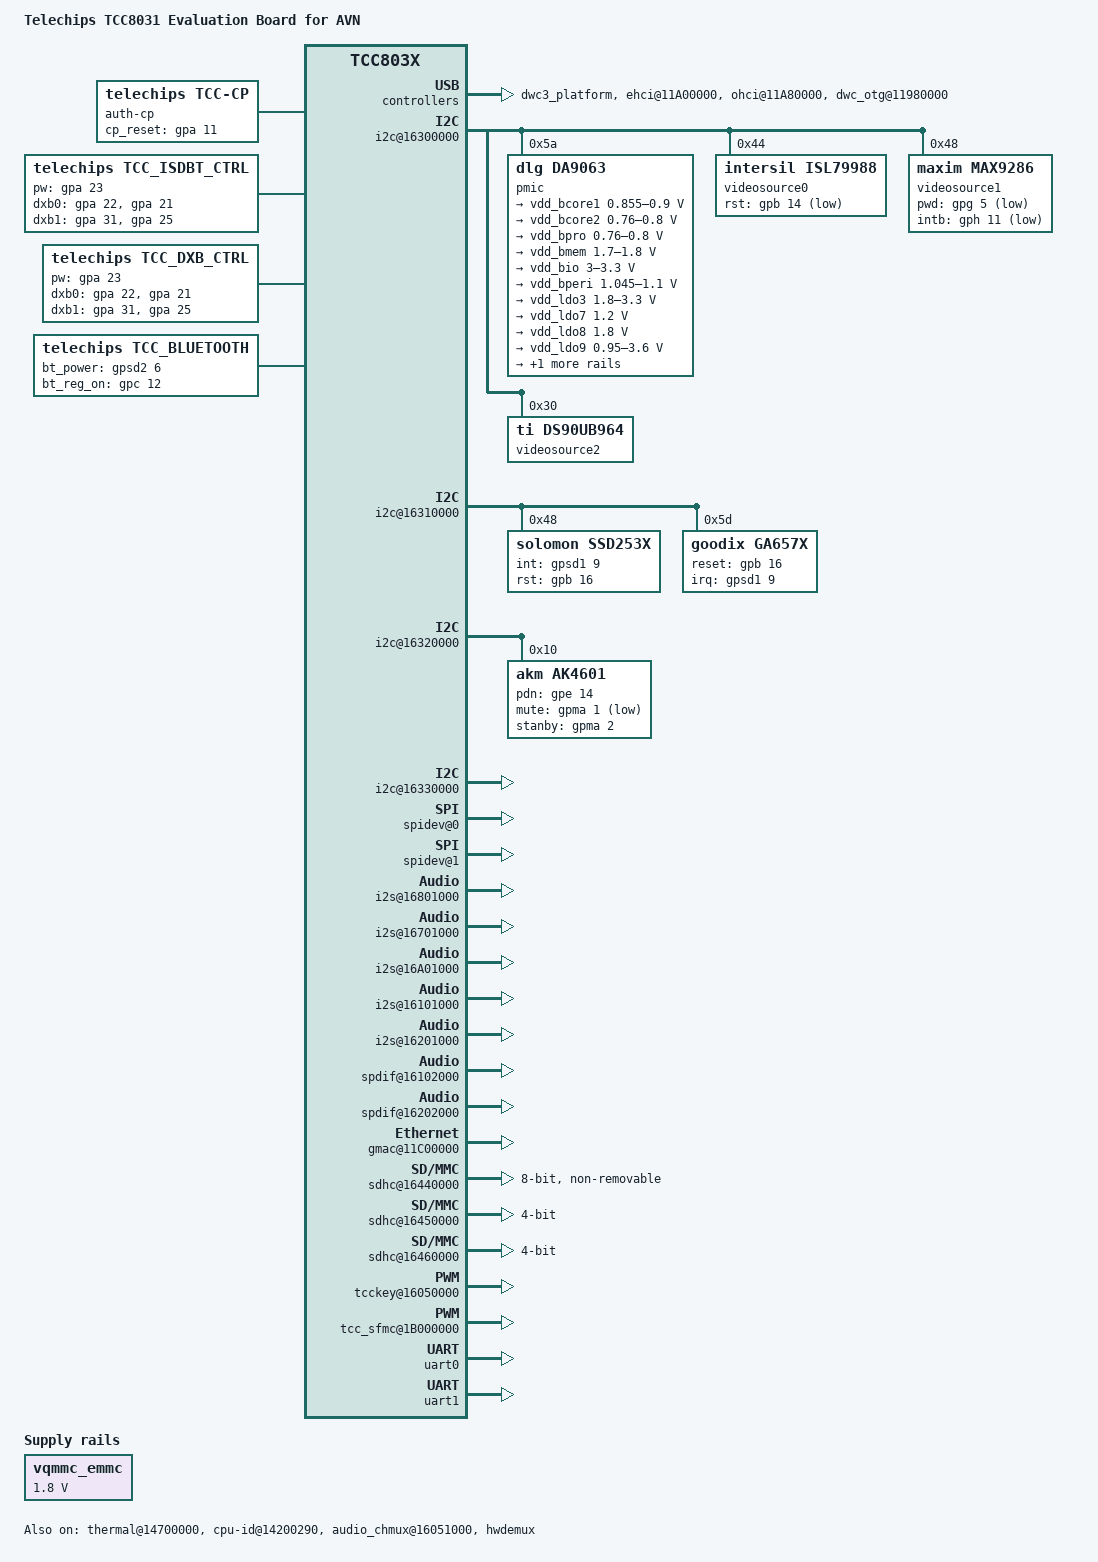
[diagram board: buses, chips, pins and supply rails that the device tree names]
/*
 * Device tree for Telechips TCC8031 board
 *
 * Copyright (C) 2018 Telechips Inc. - http://www.telechips.com
 *
 * This file is dual-licensed: you can use it either under the terms
 * of the GPL or the X11 license, at your option. Note that this dual
 * licensing only applies to this file, and not this project as a
 * whole.
 *
 *  a) This file is free software; you can redistribute it and/or
 *     modify it under the terms of the GNU General Public License as
 *     published by the Free Software Foundation; either version 2 of the
 *     License, or (at your option) any later version.
 *
 *     This file is distributed in the hope that it will be useful,
 *     but WITHOUT ANY WARRANTY; without even the implied warranty of
 *     MERCHANTABILITY or FITNESS FOR A PARTICULAR PURPOSE.  See the
 *     GNU General Public License for more details.
 *
 * Or, alternatively,
 *
 *  b) Permission is hereby granted, free of charge, to any person
 *     obtaining a copy of this software and associated documentation
 *     files (the "Software"), to deal in the Software without
 *     restriction, including without limitation the rights to use,
 *     copy, modify, merge, publish, distribute, sublicense, and/or
 *     sell copies of the Software, and to permit persons to whom the
 *     Software is furnished to do so, subject to the following
 *     conditions:
 *
 *     The above copyright notice and this permission notice shall be
 *     included in all copies or substantial portions of the Software.
 *
 *     THE SOFTWARE IS PROVIDED "AS IS", WITHOUT WARRANTY OF ANY KIND,
 *     EXPRESS OR IMPLIED, INCLUDING BUT NOT LIMITED TO THE WARRANTIES
 *     OF MERCHANTABILITY, FITNESS FOR A PARTICULAR PURPOSE AND
 *     NONINFRINGEMENT. IN NO EVENT SHALL THE AUTHORS OR COPYRIGHT
 *     HOLDERS BE LIABLE FOR ANY CLAIM, DAMAGES OR OTHER LIABILITY,
 *     WHETHER IN AN ACTION OF CONTRACT, TORT OR OTHERWISE, ARISING
 *     FROM, OUT OF OR IN CONNECTION WITH THE SOFTWARE OR THE USE OR
 *     OTHER DEALINGS IN THE SOFTWARE.
 */

#include "tcc8031.dtsi"
#include "tcc803x-linux.dtsi"

/ {
	model = "Telechips TCC8031 Evaluation Board for AVN";
	compatible = "telechips,tcc8031", "telechips,tcc803x";

	chosen {
		bootargs = "vmalloc=480M console=ttyAMA0,115200n8";
		stdout-path = &uart0;
	};

	aliases {
		videosource0 = &videosource0;
		videosource1 = &videosource1;
		videosource2 = &videosource2;
	};

	pcie@11800000 {
		reset-gpio = <&gpc 30 0>;
		//status = "okay";
	};
/*
	nand@16400000 {
		compatible = "telechips,nand-v8";
		status = "okay";
		pinctrl-names = "default";
		pinctrl-0 = <&nand_rdy &nand_cs0
			     &nand_we &nand_oe &nand_cle &nand_ale
			     &nand_wp &nand_databus8>;
	};
*/

	/* USB 3.0 DRD */
	dwc3_phy@11D90000 {
		status = "okay";
		vbus-ctrl-able;
		vbus-gpio = <&gpa 29 0>;
	};

	dwc3_platform {
		status = "okay"; 
		//usb3en-ctrl-able;                
		//usb3en-gpio = <&gpc 20 0>;       
		//vbus-source-ctrl;                
		vbus-ctrl-able;                    
		vbus-gpio = <&gpa 29 0>;           
		//pinctrl-names = "default";       
		//vdd_dwc-supply = <&vdd_v5p0_reg>;
	}; 

	/* USB 2.0 OTG */
	ehci_phy@11DA0010 {
		status = "okay";
		vbus-ctrl-able;
		vbus-gpio = <&gpa 28 0>;
	};

	ehci@11A00000 {
		status = "okay";
		hcd_id = <0>;
		phy-type = <1>;	    //pico phy = 1, nano phy = 0
		vbus-ctrl-able;
		vbus-gpio = <&gpa 28 0>;

		//sq_level_ctl;
		TXVRT = <0xB>;
		TXRISET = <0x3>;
		TXAT = <0x1>;
	};

	ohci@11A80000 {
		status = "okay";
		vbus-ctrl-able;
		vbus-gpio = <&gpa 28 0>;
	};

	dwc_otg_phy@11DA0100 {
		status = "okay";

		vbus-ctrl-able;
		vbus-gpio = <&gpa 27 0>;
	};

	mux_host_phy@11DA00DC {
		status = "okay";

		vbus-ctrl-able;
		vbus-gpio = <&gpa 27 0>;
	};

	dwc_otg@11980000 {
	    status = "okay";
	    phy-type = <1>;     //pico phy = 1, nano phy = 0

	    vbus-ctrl-able;
	    vbus-gpio = <&gpa 27 0>;
	};

	switch_reverse {
		compatible = "telechips,switch_reverse";
		status = "disabled";

		pinctrl-names = "default";
		pinctrl-0 = <&switch_reverse_ma15>;

		switch-gpios = <&gpma 15 1>;
		switch-active = <0>;
	};

	fbdisplay: fbdisplay@12000000 {
		telechips,fbdisplay_num = <0>;
		//Linuxplatform
		telechips,overlay_priority = <24>;
		//
		status ="okay";
	};

	thermal@14700000 {
		compatible = "telechips,tcc-thermal";
		reg = <0x14700000 0x4 0x14700030 0x4 0x14200290 0x4 0x1420029C 0x4>;
		status = "okay";

		throttle_count = <5>;
		throttle_active_count = <0>;
		throttle_passive_count = <5>;

		cal_type = "TYPE_ONE_POINT_TRIMMING";
		polling-delay-idle = <0>;
		polling-delay-passive = <0>;

		throttle_table {
			throttle_tab_0 {
				temp = <75>;
				freq_max_cluster0 = <1000000>;
				freq_max_cluster1 = <900000>;
			};
			throttle_tab_1 {
				temp = <80>;
				freq_max_cluster0 = <900000>;
				freq_max_cluster1 = <810000>;
			};
			throttle_tab_2 {
				temp = <85>;
				freq_max_cluster0 = <800000>;
				freq_max_cluster1 = <720000>;
			};
			throttle_tab_3 {
				temp = <90>;
				freq_max_cluster0 = <700000>;
				freq_max_cluster1 = <630000>;
			};
			throttle_tab_4 {
				temp = <95>;
				freq_max_cluster0 = <600000>;
				freq_max_cluster1 = <540000>;
			};
		};
	};

	cpu-id@14200290{
		compatible = "telechips,tcc-cpu-id";
		reg = <0x14200290 0x4 0x14200298 0x4 0x1420029C 0x4 0x14400014 0x4>;
		status = "okay";
	};

	overlaymixer:overlaymixer@1A100000 {
		status ="okay";
		contiguousSize = <0x1000000>;  /* 16MB (if > 512MB RAM) refer to Guide 27 Page */
		baseAddress = <0x20000000>;
		physSize = <0x80000000>; /*  DRAM size (0x40000000 = 1GB, 0x80000000 = 2GB) */
		};

	hdmi_tx_20@12400000 {
		hdmi_ref_src_clock = <0>; // 0 XIN, 1 X-TAL, 2 PERI, 3, PMU XIN
		hdmi_phy_type = <0>; // 0 8031

		/* Source Product Description */
		product_description = "TCC8031_avn";
	};
	i2c@16300000 {
		status = "okay";
		port-mux = <12>;
		pinctrl-names = "default";
		pinctrl-0 = <&i2c12_bus>;

		pmic@5A {
			compatible = "dlg,da9063";
			reg = <0x5A>;

			da9063_gpio: gpio {
			    compatible = "dlg,da9063-gpio";
			    gpio-controller;
			    #gpio-cells = <2>;
			};

			regulators {
				vdd_bcore1: bcore1 {
					regulator-name = "cpu_0p9v";
					regulator-min-microvolt = <855000>;
					regulator-max-microvolt = <900000>;
					regulator-always-on;
					regulator-boot-on;
				};

				vdd_bcore2: bcore2 {
					regulator-name = "core_0p8v";
					regulator-min-microvolt = <760000>;
					regulator-max-microvolt = <800000>;
					regulator-always-on;
					regulator-boot-on;
				};

				vdd_bpro: bpro {
					regulator-name = "vdd_mali";
					regulator-min-microvolt = <760000>;
					regulator-max-microvolt = <800000>;
					regulator-always-on;
					regulator-boot-on;
				};

				vdd_bmem: bmem {
					regulator-name = "io_1p8v";
					regulator-min-microvolt = <1700000>;
					regulator-max-microvolt = <1800000>;
					regulator-always-on;
					regulator-boot-on;
				};

				vdd_bio: bio {
					regulator-name = "io_3p3v";
					regulator-min-microvolt = <3000000>;
					regulator-max-microvolt = <3300000>;
					regulator-always-on;
					regulator-boot-on;
				};

				vdd_bperi: bperi {
					regulator-name = "mem_1p1v";
					regulator-min-microvolt = <1045000>;
					regulator-max-microvolt = <1100000>;
					regulator-always-on;
					regulator-boot-on;
				};

				vdd_ldo3: ldo3 {
					/* peri_1p8v */
					regulator-name = "sdio_pwr";
					regulator-min-microvolt = <1800000>;
					regulator-max-microvolt = <3300000>;
					regulator-always-on;
					regulator-boot-on;
				};

				vdd_ldo7: ldo7 {
					regulator-name = "cpu_1p2v";
					regulator-min-microvolt = <1200000>;
					regulator-max-microvolt = <1200000>;
					regulator-always-on;
					regulator-boot-on;
				};

				vdd_ldo8: ldo8 {
					regulator-name = "mem_1p8v";
					regulator-min-microvolt = <1800000>;
					regulator-max-microvolt = <1800000>;
					regulator-always-on;
					regulator-boot-on;
				};

				vdd_ldo9: ldo9 {
					regulator-name = "pmic_io_pwr";
					regulator-min-microvolt = <950000>;
					regulator-max-microvolt = <3600000>;
					regulator-always-on;
					regulator-boot-on;
				};

				vdd_ldo11: ldo11 {
					/* peri_3p3v */
					regulator-name = "emmc_pwr";
					regulator-min-microvolt = <3300000>;
					regulator-max-microvolt = <3300000>;
					regulator-always-on;
					regulator-boot-on;
				};
			};
		}; /* pmic da9063 */

		videosource0: videodecoder_isl79988 {
			compatible	= "intersil,isl79988";
			pinctrl-names	= "idle", "active";
			cifport		= <0>;
			pinctrl-0	= <&cam0_8bit_idle>;
			pinctrl-1	= <&cam0_clk &cam0_data_8bit>;
			rst-gpios	= <&gpb 14 1>;
			reg		= <0x44>;	// 0x88 >> 1
		};

		videosource1: deserializer_max9286 {
			compatible	= "maxim,max9286";
			cifport		= <5>;
			pwd-gpios	= <&gpg 5 1>;
			intb-gpios	= <&gph 11 1>;
			reg		= <0x48>;	// 0x90 >> 1
		};

		videosource2: deserializer_ds90ub964 {
			compatible	= "ti,ds90ub964";
			cifport		= <5>;
			reg		= <0x30>;	// 0x60 >> 1
		};
	};

	i2c@16310000 {
		status = "okay";
		port-mux = <13>; /* [0]SCL [1]SDA */
		pinctrl-names = "default";
		pinctrl-0 = <&i2c13_bus>;

		ssd253x@48 {
			compatible = "solomon,ssd253x";
			reg = <0x48>;
			pinctrl-names = "default";
			pinctrl-0 = <&tsc_default>;
			int-gpios = <&gpsd1 9 0x0>;
			rst-gpios = <&gpb 16 0x0>;
		};

		ga657x@5d {
			compatible = "goodix,ga657x";
			reg = <0x5d>;
			status = "okay";
			pinctrl-names = "default";
			pinctrl-0 = <&tsc_default>;

			reset-gpios = <&gpb 16 0x0>;
			irq-gpios = <&gpsd1 9 0x0>;
			irq-flags = <2>;

			touchscreen-max-id = <11>;
			touchscreen-size-x = <1920>;
			touchscreen-size-y = <720>;
			touchscreen-max-w = <512>;
			touchscreen-max-p = <512>;
			touchscreen-key-map = <172>, <158>; /*KEY_HOMEPAGE=172, KEY_BACK=158, KEY_MENU=139*/
			goodix,slide-wakeup = <0>;
			goodix,type-a-report = <0>;
			goodix,driver-send-cfg = <0>;
			goodix,resume-in-workqueue = <0>;
			goodix,swap-x2y = <0>;
			goodix,esd-protect = <1>;
			goodix,auto-update = <0>;
			goodix,auto-update-cfg = <0>;
			goodix,power-off-sleep = <0>;
			goodix,pen-suppress-finger = <0>;
			goodix,cfg-group0 = [
				53 D0 02 00 05 05 F5 D5 21 48 2D 0F 5A 41 0E 05 00 00 32 32 20 00 05 14 14 1A 14 8B 2B 00
			];
		};
	};

	i2c@16320000 {
		status = "okay";
		port-mux = <20>; /* [0]SCL [1]SDA */
		pinctrl-names = "default";
		pinctrl-0 = <&i2c20_bus>;
		ak4601: ak4601@10 {
			compatible = "akm,ak4601";
			ak4601,pdn-gpio = <&gpe 14 0>;
			//mute-gpios = <&gpe 15 0>;     //CODEC_MUTE    0: active high, 1: active low
			mute-gpios = <&gpma 1 1>;       //AMP_MUTE      0: active high, 1: active low
			stanby-gpios = <&gpma 2 0>;     //AMP_STBY      0: active high, 1: active low
			reg = <0x10>;
		};
	};

	i2c@16330000 {
		status = "okay";
		port-mux = <11>;
		pinctrl-names = "default";
		pinctrl-0 = <&i2c11_bus>;
	};

	gpsb0@16900000 {
		status = "okay";  // enable = "okay"
		gpsb-port = <22>;
		pinctrl-names = "idle", "active";
		pinctrl-0 = <&gpsb22_bus_idle>;
		pinctrl-1 = <&gpsb22_bus_spi>;

		/* cs-gpios */
		cs-gpios = <&gpg 8 0>,<&gpa 30 0>;

		#address-cells = <1>;
		#size-cells = <0>;
		spidev@0 {
			compatible = "rohm,dh2228fv";
			reg = <0>;
			spi-max-frequency = <2000000>;
		};
		spidev@1 {
			compatible = "rohm,dh2228fv";
			reg = <1>;
			spi-max-frequency = <2000000>;
		};
	};

	gpsb1@16910000 {
		status = "okay";
		gpsb-port = <15>;
		pinctrl-names = "idle", "active";
		pinctrl-0 = <&gpsb15_bus_idle>;
		pinctrl-1 = <&gpsb15_bus_tsif>;
	};

	gpsb2@16920000 {
		status = "okay";
		gpsb-port = <16>;
		pinctrl-names = "idle", "active";
		pinctrl-0 = <&gpsb16_bus_idle>;
		pinctrl-1 = <&gpsb16_bus_tsif>;
	};

	//This is for SDR solution.
	pinctrl@14200000 {
		m1dai1_bclk: m1dai1_bclk {
			 telechips,schmitt-input;
		};
		m1dai1_lrck: m1dai1_lrck {
			 telechips,schmitt-input;
		};
		m1dai1_dai0: m1dai1_dai0 {
			 telechips,schmitt-input;
		};
		m1dai1_dai1: m1dai1_dai1 {
			 telechips,schmitt-input;
		};
		m1dai1_dai2: m1dai1_dai2 {
			 telechips,schmitt-input;
		};
		m1dai1_dai3: m1dai1_dai3 {
			 telechips,schmitt-input;
		};
		m1dai0_bclk: m1dai0_bclk {
			 telechips,schmitt-input;
		};
		m1dai0_lrck: m1dai0_lrck {
			 telechips,schmitt-input;
		};
		m1dai0_dai0: m1dai0_dai0 {
			 telechips,schmitt-input;
		};
		m1dai0_dai1: m1dai0_dai1 {
			 telechips,schmitt-input;
		};
		m1dai0_dai2: m1dai0_dai2 {
			 telechips,schmitt-input;
		};
		m1dai0_dai3: m1dai0_dai3 {
			 telechips,schmitt-input;
		};
	};

	/* sdr */
	i2s@16801000 {
		compatible = "telechips,sdr";
		dev-name = "tcc-iq01";
		pinctrl-names = "default", "idle";
		pinctrl-0 = <&m1dai1_bclk &m1dai1_lrck &m1dai1_dai0 &m1dai1_dai1 &m1dai1_dai2 &m1dai1_dai3>;
		pinctrl-1 = <&m1dai1_bclk_idle &m1dai1_lrck_idle &m1dai1_dai0_idle &m1dai1_dai1_idle &m1dai1_dai2_idle &m1dai1_dai3_idle>;
		status = "okay";
	};	

	i2s@16701000 {
		compatible = "telechips,sdr";
		dev-name = "tcc-iq23";
		pinctrl-names = "default", "idle";
		pinctrl-0 = <&m1dai0_bclk &m1dai0_lrck &m1dai0_dai0 &m1dai0_dai1>;
		pinctrl-1 = <&m1dai0_bclk_idle &m1dai0_lrck_idle &m1dai0_dai0_idle &m1dai0_dai1_idle>;
		status = "okay";
	};


	i2s@16A01000 {
		compatible = "telechips,sdr";
		dev-name = "tcc-hdr-blend";
		pinctrl-names = "default", "idle";
		pinctrl-0 = <&m0dai1_bclk &m0dai1_lrck &m0dai1_dai0>;
		pinctrl-1 = <&m0dai1_bclk_idle &m0dai1_lrck_idle &m0dai1_dai0_idle>;
		status = "okay";
	};

	audio_chmux@16051000{
		compatible = "telechips,audio-chmux-803x";
		dai = <3 0 1 0 1 99 99>;	// i2s0(x) i2s1(x) i2s2(x) i2s3(x) i2s4(x) i2s5(x) i2s6(x)
		spdif = <2 99 99 3 99 99 99>;	// spdif0(x) spdif1(x) spdif2(x) spdif3(x) spdif4(x) spdif5(x) spdif6(x)
		status = "okay";
	};

	adma@16100000 {
		status = "okay";
	};

	adma@16700000 {
		status = "disabled";
	};

	adma@16800000 {
		status = "disabled";
	};
	
	adma@16200000 {
		status = "okay";
	};

	adma@16A00000 {
		status = "disabled";
	};
	
	i2s@16101000 {
		pinctrl-names = "default", "idle";
		pinctrl-0 = <&m1dai3_mclk &m1dai3_bclk &m1dai3_lrck &m1dai3_dao0 &m1dai3_dai0>;
		pinctrl-1 = <&m1dai3_mclk_idle &m1dai3_bclk_idle &m1dai3_lrck_idle &m1dai3_dao0_idle &m1dai3_dai0_idle>;
		status = "okay";		

	};

	i2s@16201000 {
		pinctrl-names = "default", "idle";
		pinctrl-0 = <&m0dai0_bclk &m0dai0_lrck &m0dai0_dao0 &m0dai0_dai0>;
		pinctrl-1 = <&m0dai0_bclk_idle &m0dai0_lrck_idle &m0dai0_dao0_idle &m0dai0_dai0_idle>;
		status = "okay";		

	};

	
	spdif@16102000 {
		pinctrl-names = "default", "idle";
		pinctrl-0 = <&spdif2_tx>;
		pinctrl-1 = <&spdif2_tx_idle>;
		status = "okay";
	};

	spdif@16202000 {
		pinctrl-names = "default", "idle";
		pinctrl-0 = <&spdif3_rx>;
		pinctrl-1 = <&spdif3_rx_idle>;
		status = "okay";
	};

/*
	asrc0: asrc@16500000 {
		sync-mode = <1 1 1 1>; // 0:async, 1:sync
		//path-type = <0 0 0 0>; // 0:m2m, 1:m2p, 2:p2m
		path-type = <1 1 1 2>; // 0:m2m, 1:m2p, 2:p2m
		status = "okay";
	};

	sound@0 {
		compatible = "telechips,asrc-card";
		card-name = "TCC8031 EVM Card";
		status = "okay";

		asrc = <&asrc0>;

		telechips,dai-link@0 {
			codec,format = "i2s";

			i2s = <&i2s0>;
			codec = <&ak4601>;
			codec,dai-name = "ak4601-aif1";

			asrc-m2p-pairs = <0 1 2>;
			asrc-p2m-pairs = <3>;

			mclk_div = <16>; // 4,6,8,16
			bclk_ratio = <64>; // 32,48,64fs
			samplerate = <48000>;
			format = <0>; // 0:S16LE, 1:S24LE
			channels = <2>; //2, 4, 6, 8
		};
	};
*/

	sound@0 {
		compatible = "telechips,snd-card";
		card-name = "TCC8031 EVM Card";
		status = "okay";

		telechips,dai-link@0 {
			stream-name="I2S_0";
			codec,format = "i2s"; // i2s, left_j, right_j
			codec,continuous-clock;
			mclk_div = <16>; // 4,6,8,16
			bclk_ratio = <64>; // 32,48,64fs
			pcm = <&adma0>;
			dai = <&i2s0>;
			codec = <&ak4601>;
			codec,dai-name = "ak4601-aif1";
		};

		telechips,dai-link@1 {
			stream-name="SPDIF_0_TX";
			pcm = <&adma0>;
			dai = <&spdif0>;
			playback-only;
		};
		
		telechips,dai-link@2 {
			stream-name="SPDIF_1_RX";
			pcm = <&adma3>;
			dai = <&spdif3>;
			capture-only;
		};

		telechips,dai-link@3 {
			stream-name="I2S_3";
			codec,format = "i2s"; // i2s, left_j, right_j
			codec,continuous-clock;
			mclk_div = <16>; // 4,6,8,16
			bclk_ratio = <64>; // 32,48,64fs
			pcm = <&adma3>;
			dai = <&i2s3>;
		};
	};				

	gmac@11C00000 {
		status = "okay";
		compatible = "telechips,gmac";
//		phyon-gpio	= <&gpc 27 0>;
		phyrst-gpio = <&gpa 24 0>;
		phy-interface = "rgmii";
		//ecid-mac-addr;
		txclk-o-dly = <18>;
		txclk-o-inv = <0>;
		txclk-i-dly = <0>;
		txclk-i-inv = <0>;
		txen-dly = <0>;
		txer-dly = <0>;
		txd0-dly = <0>;
		txd1-dly = <0>;
		txd2-dly = <0>;
		txd3-dly = <0>;
		txd4-dly = <0>;
		txd5-dly = <0>;
		txd6-dly = <0>;
		txd7-dly = <0>;
		rxclk-i-dly = <0>;
		rxclk-i-inv = <0>;
		rxdv-dly = <0>;
		rxer-dly = <0>;
		rxd0-dly = <0>;
		rxd1-dly = <0>;
		rxd2-dly = <0>;
		rxd3-dly = <0>;
		rxd4-dly = <0>;
		rxd5-dly = <0>;
		rxd6-dly = <0>;
		rxd7-dly = <0>;
		crs-dly = <0>;
		col-dly = <0>;
		pinctrl-names = "default", "mii", "rmii", "gmii", "rgmii";
		pinctrl-0 = <>;
		pinctrl-1 = <&gmac1_mdc &gmac1_mdio &gmac1_col &gmac1_crs &gmac1_txer &gmac1_rxer
					 &gmac1_txclk &gmac1_txen &gmac1_txd0 &gmac1_txd1 &gmac1_txd2 &gmac1_txd3
					 &gmac1_rxclk &gmac1_rxdv &gmac1_rxd0 &gmac1_rxd1 &gmac1_rxd2 &gmac1_rxd3>;
		pinctrl-2 = <&gmac1_mdc &gmac1_mdio
					 &gmac1_txclk &gmac1_txen &gmac1_txd0 &gmac1_txd1
					 &gmac1_rxer &gmac1_rxdv &gmac1_rxd0 &gmac1_rxd1>;
		pinctrl-3 = <&gmac1_mdc &gmac1_mdio &gmac1_col &gmac1_crs &gmac1_txer &gmac1_rxer
					 &gmac1_txclk &gmac1_txen &gmac1_txd0 &gmac1_txd1 &gmac1_txd2 &gmac1_txd3
					 &gmac1_txd4 &gmac1_txd5 &gmac1_txd6 &gmac1_txd7
					 &gmac1_rxclk &gmac1_rxdv &gmac1_rxd0 &gmac1_rxd1 &gmac1_rxd2 &gmac1_rxd3
					 &gmac1_rxd4 &gmac1_rxd5 &gmac1_rxd6 &gmac1_rxd7>;
		pinctrl-4 = <&gmac1_mdc &gmac1_mdio
					 &gmac1_txclk &gmac1_txen &gmac1_txd0 &gmac1_txd1 &gmac1_txd2 &gmac1_txd3
					 &gmac1_rxclk &gmac1_rxdv &gmac1_rxd0 &gmac1_rxd1 &gmac1_rxd2 &gmac1_rxd3>;
	};

	/* CP */
	auth-cp {
		compatible = "telechips, tcc-cp";
		cp-type = <2>;	    /* 2.0C = 1, 2.0B = 0, 3.0 = 2 */
		i2c-channel = <3>;	/* 0 ~ 3 */
		/*	power-ctrl-able; */
		/* cp_power-gpio = <&gpk 14 0>; */
		cp_reset-gpio = <&gpa 11 0>;
	};

	/* eMMC */
	vqmmc_emmc: vqmmc_emmc {
		compatible = "regulator-fixed";
		regulator-name = "vqmmc_emmc";
		regulator-min-microvolt = <1800000>;
		regulator-max-microvolt = <1800000>;
		regulator-always-on;
	};

	sdhc@16440000 {
		status = "okay";
		bus-width = <8>;
		max-frequency = <200000000>;
		pinctrl-names = "default";
		pinctrl-0 = <&sd0_clk &sd0_cmd &sd0_bus8>;

		non-removable;
		keep-power-in-suspend;
		disable-wp;
		cap-mmc-hw-reset;
		mmc-ddr-1_8v;

		tcc-mmc-reset = <&gpsd0 14 0>;

		vqmmc-supply = <&vqmmc_emmc>;
	};

	/* SD CARD */
	sdhc@16450000 {
		status = "okay";
#ifdef CONFIG_MMC_SDHCI_TCC_MODULE_ONLY
		/*
		 * In order to reduce boot time,
		 * we use the driver as module not built-in.
		 */
		compatible = "telechips,tcc803x-sdhci,module-only";
#endif
		bus-width = <4>;
		max-frequency = <200000000>;
		pinctrl-names = "default";
		pinctrl-0 = <&sd1_clk &sd1_cmd &sd1_bus4 &sd1_bus4_wp_cd>;
	};

#if 0
	/* SDIO */
	sdhc@16460000 {
		status = "okay";
		compatible = "telechips,tcc-sdhc";
		bus-width = <4>;
		max-frequency = <200000000>;
		pinctrl-names = "default", "active";
		pinctrl-0 = <&sd2_bus4_idle>;
		pinctrl-1 = <&sd2_clk &sd2_cmd &sd2_bus4 &out0_clk>;
		clocks = <&clk_peri PERI_SDMMC2 &clk_io IOBUS_SDMMC2>;
		clock-names = "mmc_fclk", "mmc_hclk";
	};
#else
	/* SDIO */
	sdhc@16460000 {
		status = "okay";
		bus-width = <4>;
		max-frequency = <200000000>;
		pinctrl-names = "default";
		pinctrl-0 = <&sd2_clk &sd2_cmd &sd2_bus4 &out0_clk>;
		clocks = <&clk_peri PERI_SDMMC2 &clk_io IOBUS_SDMMC2>;
		clock-names = "mmc_fclk", "mmc_hclk";
	};
#endif
	/* broadcast(ISDB-T/DAB/DMB) */

	/* H/W Demux */
	hwdemux: cmbus@19000000 {
		 compatible = "telechips,hwdemux";
		 status = "okay";
	};
	
	tcc_hwdmx_tsif@0 {
		compatible = "telechips,tcc89xx-hwdmx-tsif";
		tsif-id = <0>;
		tsif-port = <0>;
		pinctrl-names = "idle", "active";
		pinctrl-0 = <&ts0_idle>;
		pinctrl-1 = <&ts0_active>;
		clocks = <&clk_peri PERI_TSRX0>;
		clock-names = "tsrx0";
	};

	tcc_hwdmx_tsif@1 {
		compatible = "telechips,tcc89xx-hwdmx-tsif";
		tsif-id = <1>;
		tsif-port = <1>;
		pinctrl-names = "idle", "active";
		pinctrl-0 = <&ts1_idle>;
		pinctrl-1 = <&ts1_active>;
		clocks = <&clk_peri PERI_TSRX1>;
		clock-names = "tsrx1";
	};

	tcc_isdbt_ctrl {
		compatible = "telechips,tcc_isdbt_ctrl";
		pw-gpios = <&gpa 23 0>;
		dxb0-gpios = <&gpa 22 0>, <&gpa 21 0>, <0>, <0>;
		dxb1-gpios = <&gpa 31 0>, <&gpa 25 0>, <0>, <0>;
		ant-gpios = <0>, <0>;
	};

	tcc_dxb_ctrl {
		compatible = "telechips,tcc_dxb_ctrl";
		pw-gpios = <&gpa 23 0>;
		dxb0-gpios = <&gpa 22 0>, <&gpa 21 0>, <0>, <0>;
		dxb1-gpios = <&gpa 31 0>, <&gpa 25 0>, <0>, <0>;
		ant-gpios = <0>, <0>;
	};

	/* bluetooth */
	tcc_bluetooth {
		compatible = "telechips, tcc_bluetooth";
		bt_power-gpio = <&gpsd2 6 0>; /* BTWIFI_VBAT_EN */
		bt_reg_on-gpio = <&gpc 12 0>;
		status = "okay";
	};

	tcc_bt_dev {
		compatible = "telechips, tcc_bt_dev";
		status = "okay";
	};

	tcckey@16050000 {
	    compatible = "telechips,tcckey";
	    status = "okay";
	};

	vout_drv@0 {
		status = "okay";
	};
	smartcard {
		compatible = "telechips,pl131-smartcard";
		reg = <0x16601000 0xFFF 0x16684000 0x10>;                //smartcard #0,
		clocks = <&clk_io IOBUS_SMARTCARD4>;
		clock-frequency = <50000000>;
		smartcard-clock = <4000000>;                             // initail value 4Mhz
		Fi = <372>;						 // clock rate conversion integer
		Di = <1>;						 // initail value

		uart_ch = <&uart1>;					 // uart and smartcard share clock
		uart_chnum = <1>;
		port-num = <0>;
		tda8024-use = <1>;
		rst_gpios =  <&gpb 16 0>;
		detect_gpios = <&gph 7 0>;
		pwren_gpios = <&gph 10 0>;
		data_gfb = <21>;
		clk_gfb = <22>;
		pinctrl-names = "default";
		pinctrl-0 = <&smartcard_bus>;
		status = "disable";
	};

	tcc_sfmc@1B000000 {
		compatible = "telechips,tcc_sfmc";
		status = "okay";
		pinctrl-names = "default";
		pinctrl-0 = <&sfmc_clkcs &sfmc_databus4>;
	};
};

&uart0 {
	pinctrl-names = "default";
	pinctrl-0 = <&uart18_data>;
	status = "okay";
};

/* bluetooth */
&uart1 {
	pinctrl-names = "default";
	pinctrl-0 = <&uart20_data &uart20_rtscts>;
	dmas = <&udma1 2 2 &udma1 3 2>;
	dma-names = "tx", "rx";
	status = "okay";
};
